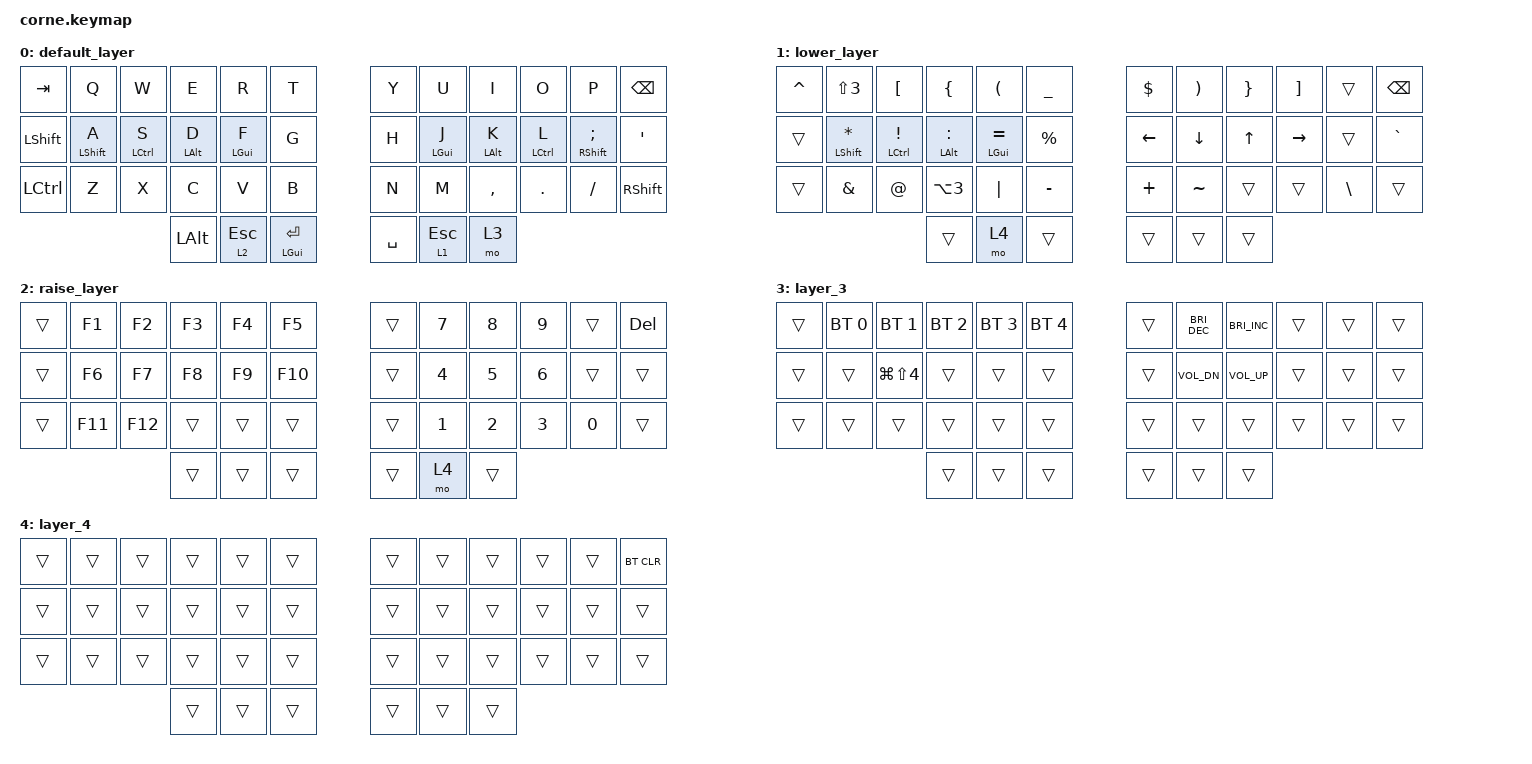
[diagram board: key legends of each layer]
/*
 * Copyright (c) 2020 The ZMK Contributors
 *
 * SPDX-License-Identifier: MIT
 */

#include <behaviors.dtsi>
#include <dt-bindings/zmk/bt.h>
#include <dt-bindings/zmk/keys.h>

&lt { flavor = "hold-preferred"; };

/ {
    behaviors {
        hml: hml {
            compatible = "zmk,behavior-hold-tap";
            label = "HML";
            bindings = <&kp>, <&kp>;

            #binding-cells = <2>;
            tapping-term-ms = <280>;
            quick-tap-ms = <175>;
            require-prior-idle-ms = <150>;
            flavor = "balanced";
            hold-trigger-on-release;
            hold-trigger-key-positions = <6 7 8 9 10 11 18 19 20 21 22 23 30 31 32 33 34 35 39 40 41>;
        };

        hmr: hmr {
            compatible = "zmk,behavior-hold-tap";
            label = "HMR";
            bindings = <&kp>, <&kp>;

            #binding-cells = <2>;
            tapping-term-ms = <280>;
            quick-tap-ms = <175>;
            require-prior-idle-ms = <150>;
            flavor = "balanced";
            hold-trigger-on-release;
            hold-trigger-key-positions = <0 1 2 3 4 5 12 13 14 15 16 17 24 25 26 27 28 29 38 37 36>;
        };
    };

    keymap {
        compatible = "zmk,keymap";

        default_layer {
            bindings = <
&kp TAB    &kp Q         &kp W                &kp E            &kp R        &kp T             &kp Y      &kp U        &kp I            &kp O                &kp P            &kp BSPC
&kp LSHFT  &hml LSHFT A  &hml LEFT_CONTROL S  &hml LEFT_ALT D  &hml LGUI F  &kp G             &kp H      &hmr LGUI J  &hmr LEFT_ALT K  &hmr LEFT_CONTROL L  &hmr RSHFT SEMI  &kp SQT
&kp LCTRL  &kp Z         &kp X                &kp C            &kp V        &kp B             &kp N      &kp M        &kp COMMA        &kp DOT              &kp FSLH         &kp RSHFT
                                              &kp LALT         &lt 2 ESC    &mt LGUI ENTER    &kp SPACE  &lt 1 ESC    &mo 3
            >;
        };

        lower_layer {
            bindings = <
&kp CARET  &kp LS(NUMBER_3)       &kp LBKT                &kp LBRC             &kp LPAR             &kp UNDER    &kp DOLLAR  &kp RPAR   &kp RBRC  &kp RBKT   &trans    &kp BSPC
&trans     &hml LEFT_SHIFT ASTRK  &hml LEFT_CONTROL EXCL  &hml LEFT_ALT COLON  &hml LEFT_GUI EQUAL  &kp PRCNT    &kp LEFT    &kp DOWN   &kp UP    &kp RIGHT  &trans    &kp GRAVE
&trans     &kp AMPS               &kp AT                  &kp LA(NUMBER_3)     &kp PIPE             &kp MINUS    &kp PLUS    &kp TILDE  &trans    &trans     &kp BSLH  &trans
                                                          &trans               &mo 4                &trans       &trans      &trans     &trans
            >;
        };

        raise_layer {
            bindings = <
&trans  &kp F1   &kp F2   &kp F3  &kp F4  &kp F5     &trans  &kp NUMBER_7  &kp NUMBER_8  &kp NUMBER_9  &trans        &kp DEL
&trans  &kp F6   &kp F7   &kp F8  &kp F9  &kp F10    &trans  &kp NUMBER_4  &kp NUMBER_5  &kp NUMBER_6  &trans        &trans
&trans  &kp F11  &kp F12  &trans  &trans  &trans     &trans  &kp NUMBER_1  &kp NUMBER_2  &kp NUMBER_3  &kp NUMBER_0  &trans
                          &trans  &trans  &trans     &trans  &mo 4         &trans
            >;
        };

        layer_3 {
            bindings = <
&trans  &bt BT_SEL 0  &bt BT_SEL 1          &bt BT_SEL 2  &bt BT_SEL 3  &bt BT_SEL 4    &trans  &kp C_BRIGHTNESS_DEC  &kp C_BRIGHTNESS_INC  &trans  &trans  &trans
&trans  &trans        &kp LG(LS(NUMBER_4))  &trans        &trans        &trans          &trans  &kp C_VOL_DN          &kp C_VOL_UP          &trans  &trans  &trans
&trans  &trans        &trans                &trans        &trans        &trans          &trans  &trans                &trans                &trans  &trans  &trans
                                            &trans        &trans        &trans          &trans  &trans                &trans
            >;
        };

        layer_4 {
            bindings = <
&trans  &trans  &trans  &trans  &trans  &trans    &trans  &trans  &trans  &trans  &trans  &bt BT_CLR
&trans  &trans  &trans  &trans  &trans  &trans    &trans  &trans  &trans  &trans  &trans  &trans
&trans  &trans  &trans  &trans  &trans  &trans    &trans  &trans  &trans  &trans  &trans  &trans
                        &trans  &trans  &trans    &trans  &trans  &trans
            >;
        };
    };
};
